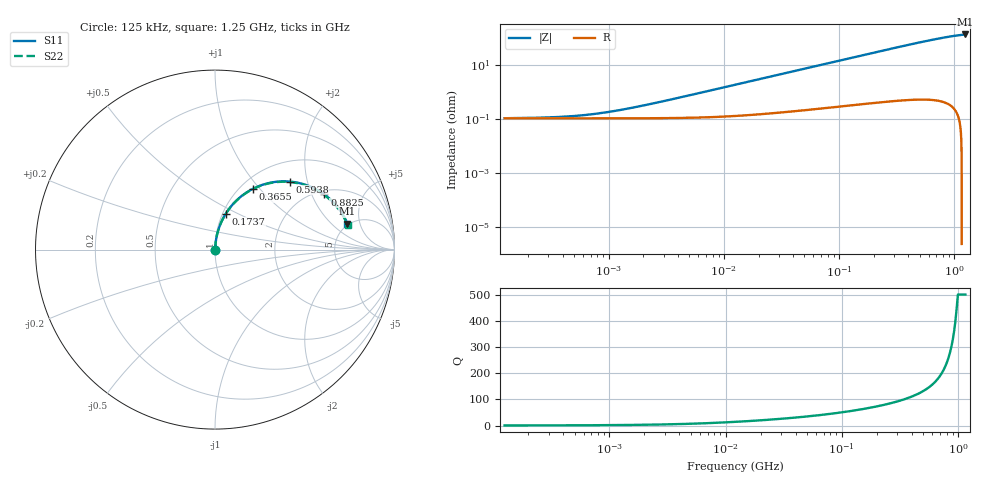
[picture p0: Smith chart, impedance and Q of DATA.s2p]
! kisi 0.3.3: S-parameters of lane DATA (kisi's channel model of the board)
! board board.kicad_pcb
! subcircuit DATA_lane (single line)
! port 1 (a): DATA at U1.4 (transmitter end)
! port 2 (b): DATA at U2.2 (receiver end)
! track length 28.12 mm, delay 162.1 ps, reference 50.00 ohm per port
! the receiver's termination resistors are not included (they act as the receiver's termination)
! stackup: 2 copper layers, 1.49 mm, er and tand at 1 GHz; from board file (layer by layer in the README)
!  layers (um): F.Cu 30 / 1430 er 4.42 tand 0.02 / B.Cu 30
# HZ S RI R 5.000000e1
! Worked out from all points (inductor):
!   10000 points, 125 kHz to 1.25 GHz, reference 50 ohm
!   read as one part in series: L = 23.3 nH near 6.375 MHz
!   highest |Z| = 134 ohm at 1.25 GHz (marker M1)
!   S11 on the Smith chart (normalised r, x): 125 kHz: 1.00, +0.00; 173.8 MHz: 1.03, +0.43; 365.5 MHz: 1.14, +0.92; 593.8 MHz: 1.41, +1.56; 882.5 MHz: 2.16, +2.49; 1.25 GHz: 4.84, +3.22
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125000  0.00104 0.000159  0.999 -0.00021  0.999 -0.00021  0.00104 0.000159
3125000  0.00108 0.00398  0.9989 -0.00522  0.9989 -0.00522  0.00108 0.00398
7875000  0.00127 0.00999  0.9987 -0.0131  0.9987 -0.0131  0.00127 0.00999
1e7  0.00139 0.0127  0.9985 -0.0166  0.9985 -0.0166  0.0014 0.0127
1.275e7  0.00159 0.0161  0.9983 -0.0211  0.9983 -0.0211  0.00159 0.0161
1.7125e7  0.00195 0.0215  0.9979 -0.0282  0.9979 -0.0282  0.00195 0.0215
2.2625e7  0.00251 0.0283  0.9973 -0.0371  0.9973 -0.0371  0.00252 0.0283
3.7125e7  0.00452 0.0461  0.9951 -0.0605  0.9951 -0.0605  0.00454 0.0461
5.9125e7  0.00903 0.0726  0.9903 -0.0954  0.9903 -0.0954  0.00908 0.0726
8.8625e7  0.0178 0.1073  0.981 -0.1413  0.981 -0.1413  0.0179 0.1073
1.265e8  0.0335 0.1499  0.9644 -0.1982  0.9644 -0.1982  0.0337 0.1498
1.7375e8  0.0593 0.1991  0.9372 -0.2652  0.9372 -0.2652  0.0596 0.199
2.085e8  0.0821 0.2319  0.9131 -0.3111  0.9131 -0.3111  0.0826 0.2318
2.80125e8  0.1372 0.2895  0.8549 -0.3956  0.8549 -0.3956  0.138 0.2891
3.655e8  0.2119 0.3391  0.7754 -0.4773  0.7754 -0.4773  0.2131 0.3383
4.1675e8  0.2587 0.359  0.7252 -0.5165  0.7252 -0.5165  0.2602 0.3579
5.9375e8  0.4151 0.3791  0.5538 -0.6037  0.5538 -0.6037  0.4173 0.3766
6.25125e8  0.4404 0.3762  0.5253 -0.6129  0.5253 -0.6129  0.4427 0.3734
8.33375e8  0.5826 0.3251  0.3571 -0.6429  0.3571 -0.6429  0.5852 0.3201
8.825e8  0.6093 0.3073  0.3229 -0.6446  0.3229 -0.6446  0.6119 0.3018
1.04175e9  0.6795 0.2413  0.2246 -0.6434  0.2246 -0.6434  0.6818 0.2341
1.25e9  0.7376 0.1447  0.1186 -0.6351  0.1186 -0.6351  0.7392 0.1354
